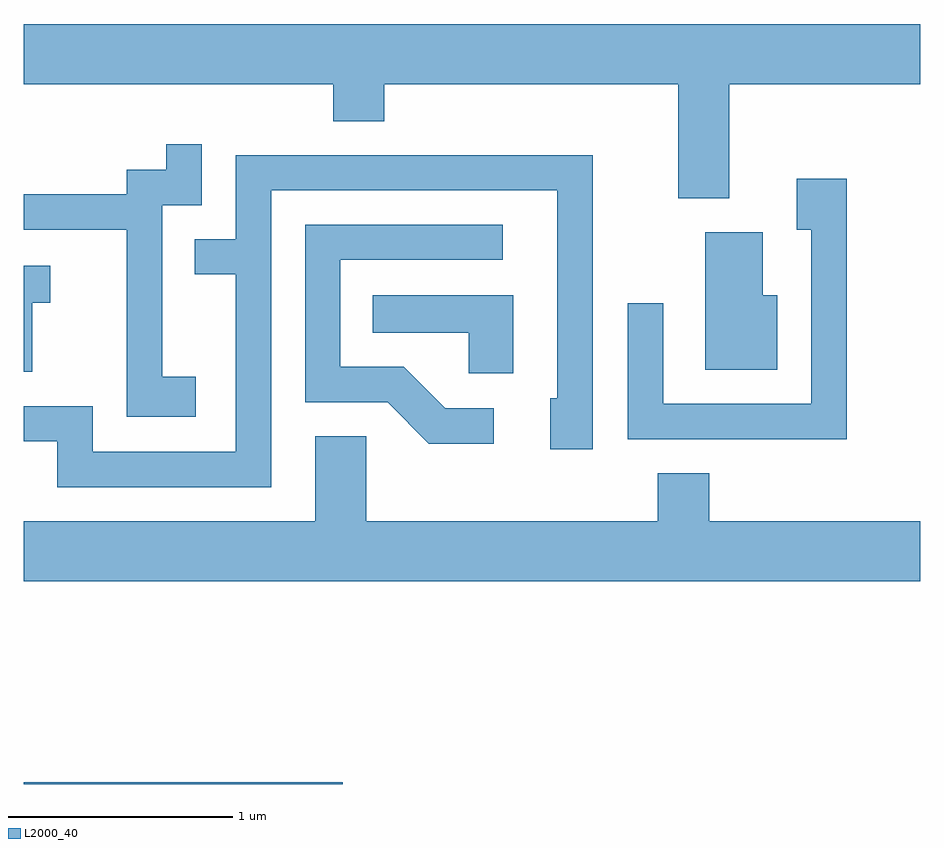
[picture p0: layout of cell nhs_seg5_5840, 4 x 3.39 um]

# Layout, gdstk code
import gdstk
lib = gdstk.Library(unit=1e-6, precision=1e-09)
def R(c, l, rs):  # rectangles x0, y0, x1, y1
    for r in rs: c.add(gdstk.rectangle(r[:2], r[2:], *l))
def P(c, l, *ps):  # polygons
    for p in ps: c.add(gdstk.Polygon(p, *l))
L2000_40 = (2000, 40)

nhs_seg5_5840 = lib.new_cell('nhs_seg5_5840')
R(nhs_seg5_5840, L2000_40, [(357.611,1498.072,359.034,1498.079)])
P(nhs_seg5_5840, L2000_40, [(360.759,1501.196),(361.611,1501.196),(361.611,1501.464),(357.611,1501.464),(357.611,1501.196),(358.991,1501.196),(358.991,1501.031),(359.219,1501.031),(359.219,1501.196),(360.531,1501.196),(360.531,1500.686),(360.759,1500.686)],
  [(358.379,1499.889),(358.229,1499.889),(358.229,1500.656),(358.404,1500.656),(358.404,1500.928),(358.246,1500.928),(358.246,1500.814),(358.071,1500.814),(358.071,1500.704),(357.611,1500.704),(357.611,1500.546),(358.071,1500.546),(358.071,1499.711),(358.379,1499.711)],
  [(358.714,1500.721),(359.991,1500.721),(359.991,1499.794),(359.961,1499.794),(359.961,1499.566),(360.149,1499.566),(360.149,1500.879),(358.556,1500.879),(358.556,1500.504),(358.373,1500.504),(358.373,1500.346),(358.556,1500.346),(358.556,1499.554),(357.919,1499.554),(357.919,1499.759),(357.611,1499.759),(357.611,1499.601),(357.761,1499.601),(357.761,1499.396),(358.714,1499.396)],
  [(361.284,1500.774),(361.061,1500.774),(361.061,1500.546),(361.126,1500.546),(361.126,1499.769),(360.464,1499.769),(360.464,1500.218),(360.306,1500.218),(360.306,1499.611),(361.284,1499.611)],
  [(359.708,1499.749),(359.492,1499.749),(359.307,1499.934),(359.024,1499.934),(359.024,1500.411),(359.748,1500.411),(359.748,1500.569),(358.866,1500.569),(358.866,1499.776),(359.234,1499.776),(359.419,1499.591),(359.708,1499.591)],
  [(360.974,1500.254),(360.909,1500.254),(360.909,1500.534),(360.651,1500.534),(360.651,1499.921),(360.974,1499.921)],
  [(357.649,1500.221),(357.728,1500.221),(357.728,1500.384),(357.611,1500.384),(357.611,1499.911),(357.649,1499.911)],
  [(359.794,1500.254),(359.168,1500.254),(359.168,1500.086),(359.596,1500.086),(359.596,1499.906),(359.794,1499.906)],
  [(361.611,1499.244),(360.669,1499.244),(360.669,1499.459),(360.441,1499.459),(360.441,1499.244),(359.139,1499.244),(359.139,1499.624),(358.911,1499.624),(358.911,1499.244),(357.611,1499.244),(357.611,1498.976),(361.611,1498.976)])

lib.write_gds('nhs_seg5_5840.gds')
